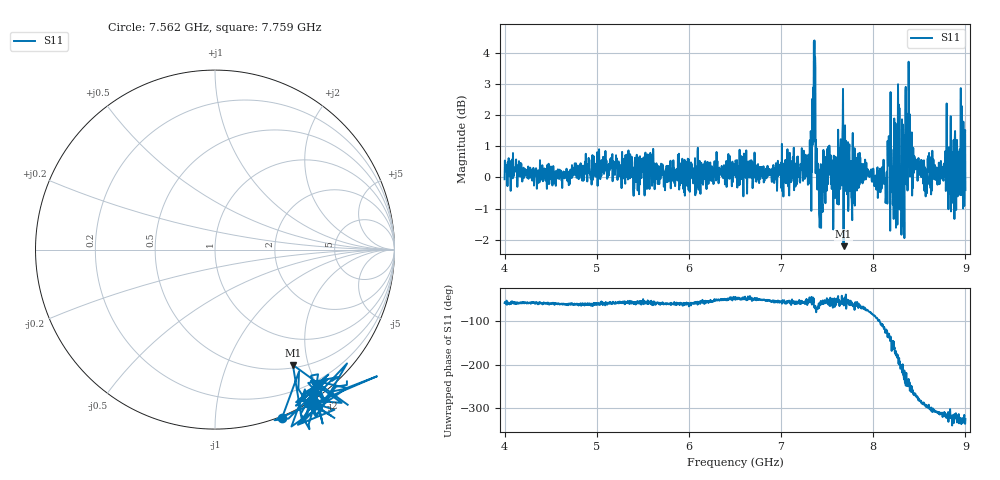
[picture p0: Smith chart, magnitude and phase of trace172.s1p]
! Created with skrf 1.8.0 (http://scikit-rf.org).
# Hz S RI R 50.0
!freq ReS11 ImS11
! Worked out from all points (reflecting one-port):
!   1601 points, 4 GHz to 9 GHz, reference 50 ohm
!   lowest |S11| = -2.2 dB at 7.678 GHz (marker M1), VSWR 7.90, Z = 27.2 - j87.6 ohm
!   phase of S11 starts at -57 deg and turns -268 deg over the sweep
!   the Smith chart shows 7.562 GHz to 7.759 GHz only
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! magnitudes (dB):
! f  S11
! 4 GHz  -0.1
! 4.625 GHz  -0.3
! 5.25 GHz  0.2
! 5.875 GHz  0.1
! 6.5 GHz  0.4
! 7.125 GHz  0.0
! 7.309 GHz  0.5
! 7.356 GHz  4.4
! 7.381 GHz  0.7
! 7.4 GHz  0.2
! 7.428 GHz  -0.6
! 7.509 GHz  -0.2
! 7.591 GHz  0.7
! 7.65 GHz  1.2
! 7.678 GHz  -2.2
! 7.75 GHz  -0.2
! 8.128 GHz  -0.1
! 8.181 GHz  1.1
! 8.228 GHz  1.9
! 8.253 GHz  0.1
! 8.294 GHz  -1.0
! 8.312 GHz  1.9
! 8.334 GHz  -0.3
! 8.375 GHz  1.5
! 8.425 GHz  0.2
! 8.556 GHz  -0.4
! 8.959 GHz  2.3
! 9 GHz  -0.4
